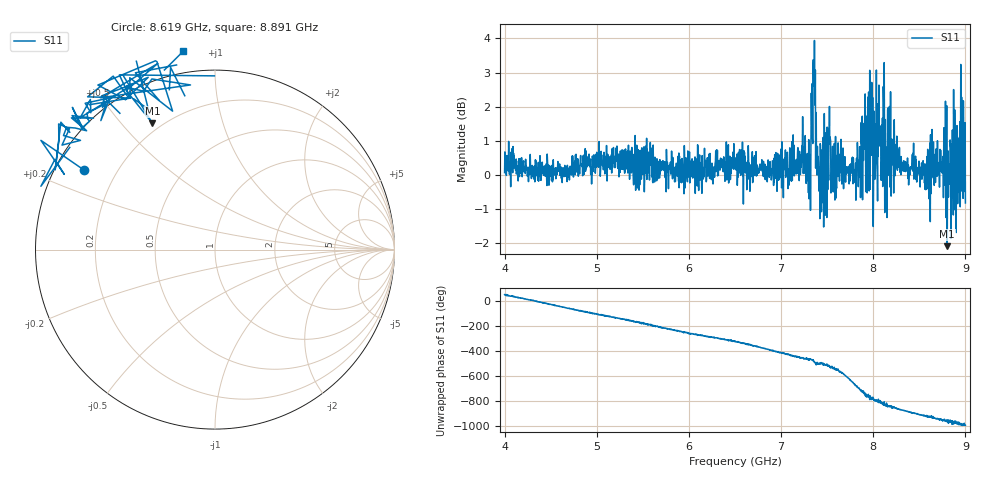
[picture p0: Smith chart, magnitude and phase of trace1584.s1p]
! Created with skrf 1.8.0 (http://scikit-rf.org).
# Hz S RI R 50.0
!freq ReS11 ImS11
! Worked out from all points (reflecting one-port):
!   1601 points, 4 GHz to 9 GHz, reference 50 ohm
!   lowest |S11| = -2.1 dB at 8.803 GHz (marker M1), VSWR 8.36, Z = 8.24 + j30.4 ohm
!   phase of S11 starts at 52 deg and turns -1049 deg over the sweep
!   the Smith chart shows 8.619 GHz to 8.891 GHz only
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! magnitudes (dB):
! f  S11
! 4 GHz  0.1
! 4.625 GHz  -0.2
! 5.25 GHz  0.1
! 5.875 GHz  0.0
! 6.5 GHz  0.4
! 7.125 GHz  0.9
! 7.241 GHz  0.0
! 7.297 GHz  -0.5
! 7.35 GHz  3.4
! 7.372 GHz  3.1
! 7.4 GHz  0.5
! 7.428 GHz  0.9
! 7.525 GHz  2.0
! 7.562 GHz  0.2
! 7.75 GHz  -0.2
! 7.838 GHz  -0.3
! 7.891 GHz  1.1
! 7.944 GHz  2.3
! 7.969 GHz  0.9
! 7.978 GHz  0.9
! 8.009 GHz  1.9
! 8.022 GHz  0.0
! 8.053 GHz  0.5
! 8.15 GHz  -1.2
! 8.375 GHz  0.3
! 8.803 GHz  -2.1
! 8.972 GHz  0.1
! 9 GHz  -0.8
